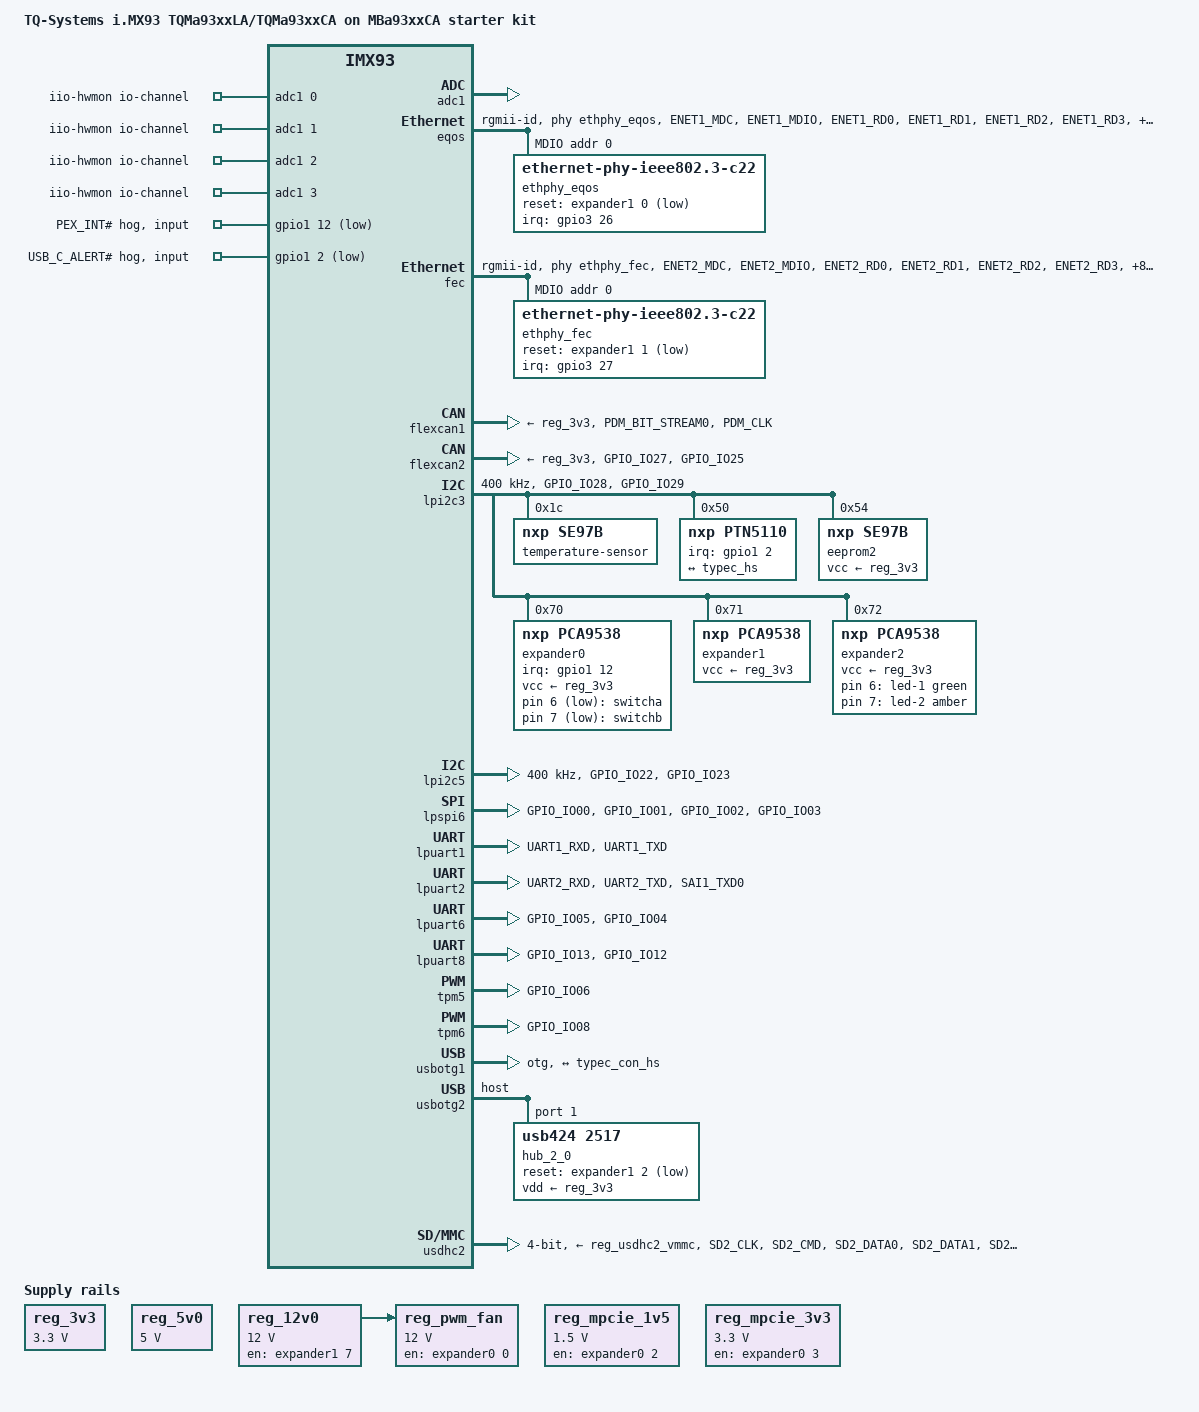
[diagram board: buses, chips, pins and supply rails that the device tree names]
// SPDX-License-Identifier: (GPL-2.0-or-later OR MIT)
/*
 * Copyright (c) 2022-2024 TQ-Systems GmbH <linux@ew.tq-group.com>,
 * D-82229 Seefeld, Germany.
 * Author: Markus Niebel
 * Author: Alexander Stein
 */
/dts-v1/;

#include <dt-bindings/input/input.h>
#include <dt-bindings/leds/common.h>
#include <dt-bindings/net/ti-dp83867.h>
#include <dt-bindings/pwm/pwm.h>

#include "imx93-tqma9352.dtsi"

/{
	model = "TQ-Systems i.MX93 TQMa93xxLA/TQMa93xxCA on MBa93xxCA starter kit";
	compatible = "tq,imx93-tqma9352-mba93xxca",
		     "tq,imx93-tqma9352", "fsl,imx93";
	chassis-type = "embedded";

	chosen {
		stdout-path = &lpuart1;
	};

	aliases {
		eeprom0 = &eeprom0;
		ethernet0 = &eqos;
		ethernet1 = &fec;
		gpio0 = &gpio1;
		gpio1 = &gpio2;
		gpio2 = &gpio3;
		gpio3 = &gpio4;
		i2c0 = &lpi2c1;
		i2c1 = &lpi2c2;
		i2c2 = &lpi2c3;
		i2c3 = &lpi2c4;
		i2c4 = &lpi2c5;
		mmc0 = &usdhc1;
		mmc1 = &usdhc2;
		rtc0 = &pcf85063;
		rtc1 = &bbnsm_rtc;
		serial0 = &lpuart1;
		serial1 = &lpuart2;
		serial2 = &lpuart3;
		serial3 = &lpuart4;
		serial4 = &lpuart5;
		serial5 = &lpuart6;
		serial6 = &lpuart7;
		serial7 = &lpuart8;
		spi0 = &lpspi1;
		spi1 = &lpspi2;
		spi2 = &lpspi3;
		spi3 = &lpspi4;
		spi4 = &lpspi5;
		spi5 = &lpspi6;
	};

	backlight_lvds: backlight {
		compatible = "pwm-backlight";
		pwms = <&tpm5 0 5000000 0>;
		brightness-levels = <0 4 8 16 32 64 128 255>;
		default-brightness-level = <7>;
		power-supply = <&reg_12v0>;
		enable-gpios = <&expander2 2 GPIO_ACTIVE_HIGH>;
		status = "disabled";
	};

	fan0: pwm-fan {
		compatible = "pwm-fan";
		pinctrl-names = "default";
		pinctrl-0 = <&pinctrl_pwmfan>;
		fan-supply = <&reg_pwm_fan>;
		#cooling-cells = <2>;
		/* typical 25 kHz -> 40.000 nsec */
		pwms = <&tpm6 0 40000 PWM_POLARITY_INVERTED>;
		cooling-levels = <0 32 64 128 196 240>;
		pulses-per-revolution = <2>;
		interrupt-parent = <&gpio2>;
		interrupts = <9 IRQ_TYPE_EDGE_FALLING>;
		status = "disabled";
	};

	gpio-keys {
		compatible = "gpio-keys";
		autorepeat;

		switch-a {
			label = "switcha";
			linux,code = <BTN_0>;
			gpios = <&expander0 6 GPIO_ACTIVE_LOW>;
			wakeup-source;
		};

		switch-b {
			label = "switchb";
			linux,code = <BTN_1>;
			gpios = <&expander0 7 GPIO_ACTIVE_LOW>;
			wakeup-source;
		};
	};

	gpio-leds {
		compatible = "gpio-leds";

		led-1 {
			color = <LED_COLOR_ID_GREEN>;
			function = LED_FUNCTION_STATUS;
			gpios = <&expander2 6 GPIO_ACTIVE_HIGH>;
			linux,default-trigger = "default-on";
		};

		led-2 {
			color = <LED_COLOR_ID_AMBER>;
			function = LED_FUNCTION_HEARTBEAT;
			gpios = <&expander2 7 GPIO_ACTIVE_HIGH>;
			linux,default-trigger = "heartbeat";
		};
	};

	iio-hwmon {
		compatible = "iio-hwmon";
		io-channels = <&adc1 0>, <&adc1 1>, <&adc1 2>, <&adc1 3>;
	};

	reg_3v3: regulator-3v3 {
		compatible = "regulator-fixed";
		regulator-name = "V_3V3_MB";
		regulator-min-microvolt = <3300000>;
		regulator-max-microvolt = <3300000>;
	};

	reg_5v0: regulator-5v0 {
		compatible = "regulator-fixed";
		regulator-name = "V_5V0_MB";
		regulator-min-microvolt = <5000000>;
		regulator-max-microvolt = <5000000>;
	};

	reg_12v0: regulator-12v0 {
		compatible = "regulator-fixed";
		regulator-name = "V_12V";
		regulator-min-microvolt = <12000000>;
		regulator-max-microvolt = <12000000>;
		gpio = <&expander1 7 GPIO_ACTIVE_HIGH>;
		enable-active-high;
	};

	reg_mpcie_1v5: regulator-mpcie-1v5 {
		compatible = "regulator-fixed";
		regulator-name = "V_1V5_MPCIE";
		regulator-min-microvolt = <1500000>;
		regulator-max-microvolt = <1500000>;
		gpio = <&expander0 2 GPIO_ACTIVE_HIGH>;
		enable-active-high;
	};

	reg_mpcie_3v3: regulator-mpcie-3v3 {
		compatible = "regulator-fixed";
		regulator-name = "V_3V3_MPCIE";
		regulator-min-microvolt = <3300000>;
		regulator-max-microvolt = <3300000>;
		gpio = <&expander0 3 GPIO_ACTIVE_HIGH>;
		enable-active-high;
	};

	reg_pwm_fan: regulator-pwm-fan {
		compatible = "regulator-fixed";
		regulator-name = "FAN_PWR";
		regulator-min-microvolt = <12000000>;
		regulator-max-microvolt = <12000000>;
		gpio = <&expander0 0 GPIO_ACTIVE_HIGH>;
		enable-active-high;
		vin-supply = <&reg_12v0>;
	};

	thermal-zones {
		cpu-thermal {
			trips {
				cpu_active0: trip-active0 {
					temperature = <40000>;
					hysteresis = <5000>;
					type = "active";
				};

				cpu_active1: trip-active1 {
					temperature = <48000>;
					hysteresis = <3000>;
					type = "active";
				};

				cpu_active2: trip-active2 {
					temperature = <60000>;
					hysteresis = <10000>;
					type = "active";
				};
			};

			cooling-maps {
				map1 {
					trip = <&cpu_active0>;
					cooling-device = <&fan0 1 1>;
				};

				map2 {
					trip = <&cpu_active1>;
					cooling-device = <&fan0 2 2>;
				};

				map3 {
					trip = <&cpu_active2>;
					cooling-device = <&fan0 3 3>;
				};
			};
		};
	};
};

&adc1 {
	status = "okay";
};

&eqos {
	pinctrl-names = "default";
	pinctrl-0 = <&pinctrl_eqos>;
	phy-mode = "rgmii-id";
	phy-handle = <&ethphy_eqos>;
	status = "okay";

	mdio {
		compatible = "snps,dwmac-mdio";
		#address-cells = <1>;
		#size-cells = <0>;

		ethphy_eqos: ethernet-phy@0 {
			compatible = "ethernet-phy-ieee802.3-c22";
			reg = <0>;
			pinctrl-names = "default";
			pinctrl-0 = <&pinctrl_eqos_phy>;
			reset-gpios = <&expander1 0 GPIO_ACTIVE_LOW>;
			reset-assert-us = <500000>;
			reset-deassert-us = <50000>;
			interrupt-parent = <&gpio3>;
			interrupts = <26 IRQ_TYPE_EDGE_FALLING>;
			enet-phy-lane-no-swap;
			ti,rx-internal-delay = <DP83867_RGMIIDCTL_2_25_NS>;
			ti,tx-internal-delay = <DP83867_RGMIIDCTL_2_25_NS>;
			ti,fifo-depth = <DP83867_PHYCR_FIFO_DEPTH_4_B_NIB>;
			ti,dp83867-rxctrl-strap-quirk;
			ti,clk-output-sel = <DP83867_CLK_O_SEL_OFF>;
		};
	};
};

&fec {
	pinctrl-names = "default";
	pinctrl-0 = <&pinctrl_fec>;
	phy-mode = "rgmii-id";
	phy-handle = <&ethphy_fec>;
	fsl,magic-packet;
	status = "okay";

	mdio {
		#address-cells = <1>;
		#size-cells = <0>;
		clock-frequency = <5000000>;

		ethphy_fec: ethernet-phy@0 {
			compatible = "ethernet-phy-ieee802.3-c22";
			reg = <0>;
			pinctrl-names = "default";
			pinctrl-0 = <&pinctrl_fec_phy>;
			reset-gpios = <&expander1 1 GPIO_ACTIVE_LOW>;
			reset-assert-us = <500000>;
			reset-deassert-us = <50000>;
			interrupt-parent = <&gpio3>;
			interrupts = <27 IRQ_TYPE_EDGE_FALLING>;
			enet-phy-lane-no-swap;
			ti,rx-internal-delay = <DP83867_RGMIIDCTL_2_25_NS>;
			ti,tx-internal-delay = <DP83867_RGMIIDCTL_2_25_NS>;
			ti,fifo-depth = <DP83867_PHYCR_FIFO_DEPTH_4_B_NIB>;
			ti,dp83867-rxctrl-strap-quirk;
			ti,clk-output-sel = <DP83867_CLK_O_SEL_OFF>;
		};
	};
};

&flexcan1 {
	pinctrl-names = "default";
	pinctrl-0 = <&pinctrl_flexcan1>;
	xceiver-supply = <&reg_3v3>;
	status = "okay";
};

&flexcan2 {
	pinctrl-names = "default";
	pinctrl-0 = <&pinctrl_flexcan2>;
	xceiver-supply = <&reg_3v3>;
	status = "okay";
};

&gpio1 {
	gpio-line-names =
		/* 00 */ "", "", "USB_C_ALERT#", "PMIC_IRQ#",
		/* 04 */ "", "", "", "",
		/* 08 */ "", "", "", "BM2_TEMP_EVENT_MOD#",
		/* 12 */ "PEX_INT#", "", "RTC_EVENT#", "",
		/* 16 */ "", "", "", "",
		/* 20 */ "", "", "", "",
		/* 24 */ "", "", "", "",
		/* 28 */ "", "", "", "";

	expander-irq-hog {
		gpio-hog;
		gpios = <12 GPIO_ACTIVE_LOW>;
		input;
		line-name = "PEX_INT#";
	};

	tcpc-irq-hog {
		gpio-hog;
		gpios = <2 GPIO_ACTIVE_LOW>;
		input;
		line-name = "USB_C_ALERT#";
	};
};

&gpio2 {
	pinctrl-names = "default";
	pinctrl-0 = <&pinctrl_gpio2>;

	gpio-line-names =
		/* 00 */ "SPI6_PCS0#", "", "", "",
		/* 04 */ "", "", "", "",
		/* 08 */ "", "FAN_RPM", "MIPI_CSI_TRIGGER", "MIPI_CSI_SYNC",
		/* 12 */ "", "", "", "",
		/* 16 */ "X1_11", "X1_21", "X1_17", "X1_13",
		/* 20 */ "X1_15", "X1_9", "", "",
		/* 24 */ "", "", "X1_7", "",
		/* 28 */ "", "", "", "";
};

&gpio3 {
	gpio-line-names =
		/* 00 */ "SD2_CD#", "", "", "",
		/* 04 */ "", "", "", "SD2_RST#",
		/* 08 */ "", "", "", "",
		/* 12 */ "", "", "", "",
		/* 16 */ "", "", "", "",
		/* 20 */ "", "", "", "",
		/* 24 */ "", "", "ENET1_INT#", "ENET2_INT#",
		/* 28 */ "", "", "", "";
};

&gpio4 {
	gpio-line-names =
		/* 00 */ "", "", "", "",
		/* 04 */ "", "", "", "",
		/* 08 */ "", "", "", "",
		/* 12 */ "", "", "", "",
		/* 16 */ "", "", "", "",
		/* 20 */ "", "", "", "",
		/* 24 */ "", "", "", "",
		/* 28 */ "", "DP_INT", "", "";
};

&lpi2c3 {
	#address-cells = <1>;
	#size-cells = <0>;
	clock-frequency = <400000>;
	pinctrl-names = "default", "sleep";
	pinctrl-0 = <&pinctrl_lpi2c3>;
	pinctrl-1 = <&pinctrl_lpi2c3>;
	status = "okay";

	temperature-sensor@1c {
		compatible = "nxp,se97b", "jedec,jc-42.4-temp";
		reg = <0x1c>;
	};

	ptn5110: usb-typec@50 {
		compatible = "nxp,ptn5110", "tcpci";
		reg = <0x50>;
		pinctrl-names = "default";
		pinctrl-0 = <&pinctrl_typec>;
		interrupt-parent = <&gpio1>;
		interrupts = <2 IRQ_TYPE_EDGE_FALLING>;

		connector {
			compatible = "usb-c-connector";
			label = "X17";
			power-role = "dual";
			data-role = "dual";
			try-power-role = "sink";
			typec-power-opmode = "default";
			pd-disable;
			self-powered;

			port {
				typec_con_hs: endpoint {
					remote-endpoint = <&typec_hs>;
				};
			};
		};
	};

	eeprom2: eeprom@54 {
		compatible = "nxp,se97b", "atmel,24c02";
		reg = <0x54>;
		pagesize = <16>;
		vcc-supply = <&reg_3v3>;
	};

	expander0: gpio@70 {
		compatible = "nxp,pca9538";
		reg = <0x70>;
		pinctrl-names = "default";
		pinctrl-0 = <&pinctrl_pexp_irq>;
		gpio-controller;
		#gpio-cells = <2>;
		interrupt-controller;
		#interrupt-cells = <2>;
		interrupt-parent = <&gpio1>;
		interrupts = <12 IRQ_TYPE_LEVEL_LOW>;
		vcc-supply = <&reg_3v3>;
		gpio-line-names = "FAN_PWR_EN", "MPCIE_WAKE#",
				  "MPCIE_1V5_EN", "MPCIE_3V3_EN",
				  "MPCIE_PERST#", "MPCIE_WDISABLE#",
				  "BUTTON_A#", "BUTTON_B#";

		mpcie-wake-hog {
			gpio-hog;
			gpios = <1 GPIO_ACTIVE_LOW>;
			input;
			line-name = "MPCIE_WAKE#";
		};

		/*
		 * Controls the mPCIE slot reset which is low active as
		 * reset signal. The output-low states, the signal is
		 * inactive, e.g. not in reset
		 */
		mpcie_rst_hog: mpcie-rst-hog {
			gpio-hog;
			gpios = <4 GPIO_ACTIVE_LOW>;
			output-low;
			line-name = "MPCIE_PERST#";
		};

		/*
		 * Controls the mPCIE slot WDISABLE pin which is low active
		 * as disable signal. The output-low states, the signal is
		 * inactive, e.g. not disabled
		 */
		mpcie_wdisable_hog: mpcie-wdisable-hog {
			gpio-hog;
			gpios = <5 GPIO_ACTIVE_LOW>;
			output-low;
			line-name = "MPCIE_WDISABLE#";
		};
	};

	expander1: gpio@71 {
		compatible = "nxp,pca9538";
		reg = <0x71>;
		gpio-controller;
		#gpio-cells = <2>;
		vcc-supply = <&reg_3v3>;
		gpio-line-names = "ENET1_RESET#", "ENET2_RESET#",
				  "USB_RESET#", "",
				  "WLAN_PD#", "WLAN_W_DISABLE#",
				  "WLAN_PERST#", "12V_EN";

		/*
		 * Controls the WiFi card's low-active power down pin.
		 * The output-low states, the signal is inactive,
		 * resulting in high signal at power-down pin
		 */
		wlan-pd-hog {
			gpio-hog;
			gpios = <4 GPIO_ACTIVE_LOW>;
			output-low;
			line-name = "WLAN_PD#";
		};

		/*
		 * Controls the WiFi card's low-active disable pin.
		 * The output-low states, the signal is inactive,
		 * resulting in high signal at power-down pin
		 */
		wlan-wdisable-hog {
			gpio-hog;
			gpios = <5 GPIO_ACTIVE_LOW>;
			output-low;
			line-name = "WLAN_W_DISABLE#";
		};

		/*
		 * Controls the WiFi card's reset pin.
		 * The output-low states, the signal is inactive,
		 * resulting in high signal at power-down pin
		 */
		wlan-perst-hog {
			gpio-hog;
			gpios = <6 GPIO_ACTIVE_LOW>;
			output-low;
			line-name = "WLAN_PERST#";
		};
	};

	expander2: gpio@72 {
		compatible = "nxp,pca9538";
		reg = <0x72>;
		gpio-controller;
		#gpio-cells = <2>;
		vcc-supply = <&reg_3v3>;
		gpio-line-names = "LCD_RESET#", "LCD_PWR_EN",
				  "LCD_BLT_EN", "DP_EN",
				  "MIPI_CSI_EN", "MIPI_CSI_RST#",
				  "USER_LED1", "USER_LED2";
	};
};

&lpi2c5 {
	#address-cells = <1>;
	#size-cells = <0>;
	clock-frequency = <400000>;
	pinctrl-names = "default", "sleep";
	pinctrl-0 = <&pinctrl_lpi2c5>;
	pinctrl-1 = <&pinctrl_lpi2c5>;
	status = "okay";
};

&lpspi6 {
	pinctrl-names = "default", "sleep";
	pinctrl-0 = <&pinctrl_lpspi6>;
	pinctrl-1 = <&pinctrl_lpspi6>;
	status = "okay";
};

&lpuart1 {
	pinctrl-names = "default";
	pinctrl-0 = <&pinctrl_uart1>;
	status = "okay";
};

&lpuart2 {
	pinctrl-names = "default";
	pinctrl-0 = <&pinctrl_uart2>;
	linux,rs485-enabled-at-boot-time;
	status = "okay";
};

/* disabled per default, console for M33 */
&lpuart3 {
	pinctrl-names = "default";
	pinctrl-0 = <&pinctrl_uart3>;
	status = "disabled";
};

&lpuart6 {
	pinctrl-names = "default";
	pinctrl-0 = <&pinctrl_uart6>;
	status = "okay";
};

&lpuart8 {
	pinctrl-names = "default";
	pinctrl-0 = <&pinctrl_uart8>;
	status = "okay";
};

&pcf85063 {
	/* RTC_EVENT# from SoM is connected on mainboard */
	pinctrl-names = "default";
	pinctrl-0 = <&pinctrl_pcf85063>;
	interrupt-parent = <&gpio1>;
	interrupts = <14 IRQ_TYPE_EDGE_FALLING>;
};

&se97_som {
	/* TEMP_EVENT# from SoM is connected on mainboard */
	pinctrl-names = "default";
	pinctrl-0 = <&pinctrl_temp_sensor_som>;
	interrupt-parent = <&gpio1>;
	interrupts = <11 IRQ_TYPE_LEVEL_LOW>;
};

&tpm5 {
	pinctrl-names = "default";
	pinctrl-0 = <&pinctrl_tpm5>;
};

&tpm6 {
	pinctrl-names = "default";
	pinctrl-0 = <&pinctrl_tpm6>;
	status = "okay";
};

&usbotg1 {
	dr_mode = "otg";
	hnp-disable;
	srp-disable;
	adp-disable;
	usb-role-switch;
	disable-over-current;
	samsung,picophy-pre-emp-curr-control = <3>;
	samsung,picophy-dc-vol-level-adjust = <7>;
	status = "okay";

	port {
		typec_hs: endpoint {
			remote-endpoint = <&typec_con_hs>;
		};
	};
};

&usbotg2 {
	dr_mode = "host";
	#address-cells = <1>;
	#size-cells = <0>;
	disable-over-current;
	samsung,picophy-pre-emp-curr-control = <3>;
	samsung,picophy-dc-vol-level-adjust = <7>;
	status = "okay";

	hub_2_0: usb-hub@1 {
		compatible = "usb424,2517";
		reg = <1>;
		reset-gpios = <&expander1 2 GPIO_ACTIVE_LOW>;
		vdd-supply = <&reg_3v3>;
	};
};

&usdhc2 {
	pinctrl-names = "default", "state_100mhz", "state_200mhz";
	pinctrl-0 = <&pinctrl_usdhc2_hs>, <&pinctrl_usdhc2_gpio>;
	pinctrl-1 = <&pinctrl_usdhc2_uhs>, <&pinctrl_usdhc2_gpio>;
	pinctrl-2 = <&pinctrl_usdhc2_uhs>, <&pinctrl_usdhc2_gpio>;
	cd-gpios = <&gpio3 0 GPIO_ACTIVE_LOW>;
	vmmc-supply = <&reg_usdhc2_vmmc>;
	bus-width = <4>;
	no-sdio;
	no-mmc;
	disable-wp;
	status = "okay";
};

&iomuxc {
	pinctrl_eqos: eqosgrp {
		fsl,pins = <
			/* PD | FSEL_2 | DSE X4 */
			MX93_PAD_ENET1_MDC__ENET_QOS_MDC			0x51e
			/* SION | HYS | FSEL_2 | DSE X4 */
			MX93_PAD_ENET1_MDIO__ENET_QOS_MDIO			0x4000111e
			/* HYS | FSEL_0 | DSE no drive */
			MX93_PAD_ENET1_RD0__ENET_QOS_RGMII_RD0			0x1000
			MX93_PAD_ENET1_RD1__ENET_QOS_RGMII_RD1			0x1000
			MX93_PAD_ENET1_RD2__ENET_QOS_RGMII_RD2			0x1000
			MX93_PAD_ENET1_RD3__ENET_QOS_RGMII_RD3			0x1000
			MX93_PAD_ENET1_RX_CTL__ENET_QOS_RGMII_RX_CTL		0x1000
			/* HYS | PD | FSEL_0 | DSE no drive */
			MX93_PAD_ENET1_RXC__CCM_ENET_QOS_CLOCK_GENERATE_RX_CLK	0x1400
			/* PD | FSEL_2 | DSE X4 */
			MX93_PAD_ENET1_TD0__ENET_QOS_RGMII_TD0			0x51e
			MX93_PAD_ENET1_TD1__ENET_QOS_RGMII_TD1			0x51e
			MX93_PAD_ENET1_TD2__ENET_QOS_RGMII_TD2			0x51e
			MX93_PAD_ENET1_TD3__ENET_QOS_RGMII_TD3			0x51e
			MX93_PAD_ENET1_TX_CTL__ENET_QOS_RGMII_TX_CTL		0x51e
			/* PD | FSEL_3 | DSE X3 */
			MX93_PAD_ENET1_TXC__CCM_ENET_QOS_CLOCK_GENERATE_TX_CLK	0x58e
		>;
	};

	pinctrl_eqos_phy: eqosphygrp {
		fsl,pins = <
			/* HYS | FSEL_0 | DSE no drive */
			MX93_PAD_CCM_CLKO1__GPIO3_IO26			0x1000
		>;
	};

	pinctrl_fec: fecgrp {
		fsl,pins = <
			/* PD | FSEL_2 | DSE X4 */
			MX93_PAD_ENET2_MDC__ENET1_MDC			0x51e
			/* SION | HYS | FSEL_2 | DSE X4 */
			MX93_PAD_ENET2_MDIO__ENET1_MDIO			0x4000111e
			/* HYS | FSEL_0 | DSE no drive */
			MX93_PAD_ENET2_RD0__ENET1_RGMII_RD0		0x1000
			MX93_PAD_ENET2_RD1__ENET1_RGMII_RD1		0x1000
			MX93_PAD_ENET2_RD2__ENET1_RGMII_RD2		0x1000
			MX93_PAD_ENET2_RD3__ENET1_RGMII_RD3		0x1000
			MX93_PAD_ENET2_RX_CTL__ENET1_RGMII_RX_CTL	0x1000
			/* HYS | PD | FSEL_0 | DSE no drive */
			MX93_PAD_ENET2_RXC__ENET1_RGMII_RXC		0x1400
			/* PD | FSEL_2 | DSE X4 */
			MX93_PAD_ENET2_TD0__ENET1_RGMII_TD0		0x51e
			MX93_PAD_ENET2_TD1__ENET1_RGMII_TD1		0x51e
			MX93_PAD_ENET2_TD2__ENET1_RGMII_TD2		0x51e
			MX93_PAD_ENET2_TD3__ENET1_RGMII_TD3		0x51e
			MX93_PAD_ENET2_TX_CTL__ENET1_RGMII_TX_CTL	0x51e
			/* PD | FSEL_3 | DSE X3 */
			MX93_PAD_ENET2_TXC__ENET1_RGMII_TXC		0x58e
		>;
	};

	pinctrl_fec_phy: fecphygrp {
		fsl,pins = <
			/* HYS | FSEL_0 | DSE no drive */
			MX93_PAD_CCM_CLKO2__GPIO3_IO27			0x1000
		>;
	};

	pinctrl_flexcan1: flexcan1grp {
		fsl,pins = <
			/* HYS | PU | FSEL_0 | DSE no drive */
			MX93_PAD_PDM_BIT_STREAM0__CAN1_RX		0x1200
			/* PU | FSEL_3 | DSE X4 */
			MX93_PAD_PDM_CLK__CAN1_TX			0x039e
		>;
	};

	pinctrl_flexcan2: flexcan2grp {
		fsl,pins = <
			/* HYS | PU | FSEL_0 | DSE no drive */
			MX93_PAD_GPIO_IO27__CAN2_RX			0x1200
			/* PU | FSEL_3 | DSE X4 */
			MX93_PAD_GPIO_IO25__CAN2_TX			0x039e
		>;
	};

	pinctrl_gpio2: gpio2grp {
		fsl,pins = <
			/* HYS | PD | FSEL_2 | DSE X4 */
			MX93_PAD_GPIO_IO16__GPIO2_IO16			0x151e
			MX93_PAD_GPIO_IO17__GPIO2_IO17			0x151e
			MX93_PAD_GPIO_IO18__GPIO2_IO18			0x151e
			MX93_PAD_GPIO_IO19__GPIO2_IO19			0x151e
			MX93_PAD_GPIO_IO20__GPIO2_IO20			0x151e
			MX93_PAD_GPIO_IO21__GPIO2_IO21			0x151e
			MX93_PAD_GPIO_IO26__GPIO2_IO26			0x151e
		>;
	};

	pinctrl_jtag: jtaggrp {
		fsl,pins = <
			MX93_PAD_DAP_TCLK_SWCLK__JTAG_MUX_TCK		0x051e
			MX93_PAD_DAP_TDI__JTAG_MUX_TDI			0x1200
			MX93_PAD_DAP_TDO_TRACESWO__JTAG_MUX_TDO		0x031e
			MX93_PAD_DAP_TMS_SWDIO__JTAG_MUX_TMS		0x1200
		>;
	};

	pinctrl_lpi2c3: lpi2c3grp {
		fsl,pins = <
			/* SION | HYS | OD | FSEL_3 | DSE X4 */
			MX93_PAD_GPIO_IO28__LPI2C3_SDA			0x4000199e
			MX93_PAD_GPIO_IO29__LPI2C3_SCL			0x4000199e
		>;
	};

	pinctrl_lpi2c5: lpi2c5grp {
		fsl,pins = <
			/* SION | HYS | OD | FSEL_3 | DSE X4 */
			MX93_PAD_GPIO_IO22__LPI2C5_SDA			0x4000199e
			MX93_PAD_GPIO_IO23__LPI2C5_SCL			0x4000199e
		>;
	};

	pinctrl_lpspi6: lpspi6grp {
		fsl,pins = <
			/* FSEL_2 | DSE X4 */
			MX93_PAD_GPIO_IO00__LPSPI6_PCS0			0x011e
			/* HYS | PD | FSEL_0 | DSE no drive */
			MX93_PAD_GPIO_IO01__LPSPI6_SIN			0x1400
			/* PD | FSEL_2 | DSE X4 */
			MX93_PAD_GPIO_IO02__LPSPI6_SOUT			0x051e
			MX93_PAD_GPIO_IO03__LPSPI6_SCK			0x051e
		>;
	};

	pinctrl_mipi_csi: mipicsigrp {
		fsl,pins = <
			MX93_PAD_CCM_CLKO3__CCMSRCGPCMIX_CLKO3		0x051e /* MCLK */
			MX93_PAD_GPIO_IO10__GPIO2_IO10			0x051e /* TRIGGER */
			MX93_PAD_GPIO_IO11__GPIO2_IO11			0x1400 /* SYNC */
		>;
	};

	pinctrl_pcf85063: pcf85063grp {
		fsl,pins = <
			MX93_PAD_SAI1_RXD0__GPIO1_IO14			0x1000
		>;
	};

	pinctrl_pexp_irq: pexpirqgrp {
		fsl,pins = <
			/* HYS | FSEL_0 | No DSE */
			MX93_PAD_SAI1_TXC__GPIO1_IO12			0x1000
		>;
	};

	pinctrl_pwmfan: pwmfangrp {
		fsl,pins = <
			/* HYS | PU | FSEL_0 | no DSE */
			MX93_PAD_GPIO_IO09__GPIO2_IO09			0x1200
		>;
	};

	pinctrl_tc9595: tc9595-grp {
		fsl,pins = <
			/* HYS | PD | FSEL_0 | no DSE */
			MX93_PAD_CCM_CLKO4__GPIO4_IO29			0x1400
		>;
	};

	pinctrl_temp_sensor_som: tempsensorsomgrp {
		fsl,pins = <
			/* HYS | FSEL_0 | no DSE */
			MX93_PAD_SAI1_TXFS__GPIO1_IO11			0x1000
		>;
	};

	pinctrl_tpm5: tpm5grp {
		fsl,pins = <
			MX93_PAD_GPIO_IO06__TPM5_CH0			0x57e
		>;
	};

	pinctrl_tpm6: tpm6grp {
		fsl,pins = <
			MX93_PAD_GPIO_IO08__TPM6_CH0			0x57e
		>;
	};

	pinctrl_typec: typecgrp {
		fsl,pins = <
			/* HYS | FSEL_0 | No DSE */
			MX93_PAD_I2C2_SCL__GPIO1_IO02			0x1000
		>;
	};

	pinctrl_uart1: uart1grp {
		fsl,pins = <
			/* HYS | FSEL_0 | No DSE */
			MX93_PAD_UART1_RXD__LPUART1_RX			0x1000
			/* FSEL_2 | DSE X4 */
			MX93_PAD_UART1_TXD__LPUART1_TX			0x011e
		>;
	};

	pinctrl_uart2: uart2grp {
		fsl,pins = <
			/* HYS | FSEL_0 | No DSE */
			MX93_PAD_UART2_RXD__LPUART2_RX			0x1000
			/* FSEL_2 | DSE X4 */
			MX93_PAD_UART2_TXD__LPUART2_TX			0x011e
			/* FSEL_2 | DSE X4 */
			MX93_PAD_SAI1_TXD0__LPUART2_RTS_B		0x011e
		>;
	};

	pinctrl_uart3: uart3grp {
		fsl,pins = <
			/* HYS | FSEL_0 | No DSE */
			MX93_PAD_GPIO_IO15__LPUART3_RX			0x1000
			/* FSEL_2 | DSE X4 */
			MX93_PAD_GPIO_IO14__LPUART3_TX			0x011e
		>;
	};

	pinctrl_uart6: uart6grp {
		fsl,pins = <
			/* HYS | FSEL_0 | No DSE */
			MX93_PAD_GPIO_IO05__LPUART6_RX			0x1000
			/* FSEL_2 | DSE X4 */
			MX93_PAD_GPIO_IO04__LPUART6_TX			0x011e
		>;
	};

	pinctrl_uart8: uart8grp {
		fsl,pins = <
			/* HYS | FSEL_0 | No DSE */
			MX93_PAD_GPIO_IO13__LPUART8_RX			0x1000
			/* FSEL_2 | DSE X4 */
			MX93_PAD_GPIO_IO12__LPUART8_TX			0x011e
		>;
	};

	pinctrl_usdhc2_gpio: usdhc2gpiogrp {
		fsl,pins = <
			/* HYS | FSEL_0 | No DSE */
			MX93_PAD_SD2_CD_B__GPIO3_IO00			0x1000
		>;
	};

	/* enable SION for data and cmd pad due to ERR052021 */
	pinctrl_usdhc2_hs: usdhc2hsgrp {
		fsl,pins = <
			/* PD | FSEL_3 | DSE X5 */
			MX93_PAD_SD2_CLK__USDHC2_CLK			0x05be
			/* HYS | PU | FSEL_3 | DSE X4 */
			MX93_PAD_SD2_CMD__USDHC2_CMD			0x4000139e
			/* HYS | PU | FSEL_3 | DSE X3 */
			MX93_PAD_SD2_DATA0__USDHC2_DATA0		0x4000138e
			MX93_PAD_SD2_DATA1__USDHC2_DATA1		0x4000138e
			MX93_PAD_SD2_DATA2__USDHC2_DATA2		0x4000138e
			MX93_PAD_SD2_DATA3__USDHC2_DATA3		0x4000138e
			/* FSEL_2 | DSE X3 */
			MX93_PAD_SD2_VSELECT__USDHC2_VSELECT		0x010e
		>;
	};

	/* enable SION for data and cmd pad due to ERR052021 */
	pinctrl_usdhc2_uhs: usdhc2uhsgrp {
		fsl,pins = <
			/* PD | FSEL_3 | DSE X6 */
			MX93_PAD_SD2_CLK__USDHC2_CLK			0x05fe
			/* HYS | PU | FSEL_3 | DSE X4 */
			MX93_PAD_SD2_CMD__USDHC2_CMD			0x4000139e
			MX93_PAD_SD2_DATA0__USDHC2_DATA0		0x4000139e
			MX93_PAD_SD2_DATA1__USDHC2_DATA1		0x4000139e
			MX93_PAD_SD2_DATA2__USDHC2_DATA2		0x4000139e
			MX93_PAD_SD2_DATA3__USDHC2_DATA3		0x4000139e
			/* FSEL_2 | DSE X3 */
			MX93_PAD_SD2_VSELECT__USDHC2_VSELECT		0x010e
		>;
	};
};
